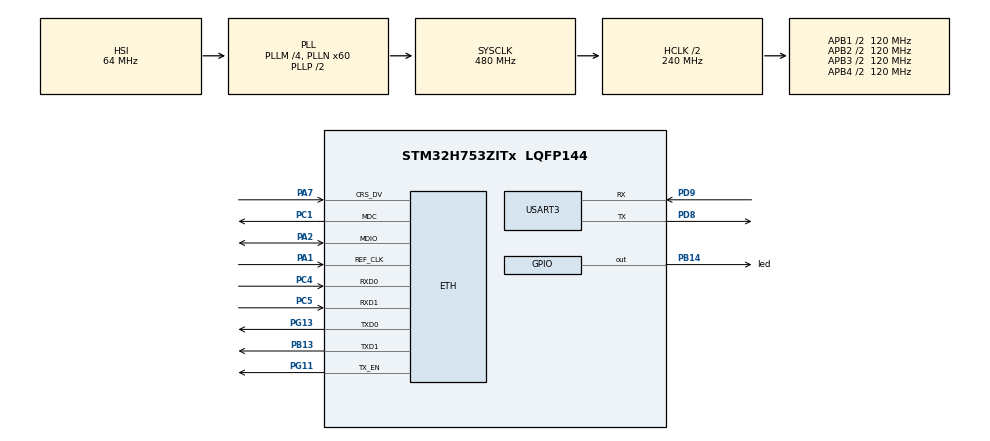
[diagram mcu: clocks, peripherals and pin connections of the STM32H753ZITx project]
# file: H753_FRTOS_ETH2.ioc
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CORTEX_M7.AccessPermission_S-Cortex_Memory_Protection_Unit_Region1_Settings_S=MPU_REGION_PRIV_RO
CORTEX_M7.AccessPermission_S-Cortex_Memory_Protection_Unit_Region2_Settings_S=MPU_REGION_FULL_ACCESS
CORTEX_M7.AccessPermission_S-Cortex_Memory_Protection_Unit_Region3_Settings_S=MPU_REGION_FULL_ACCESS
CORTEX_M7.BaseAddress_S-Cortex_Memory_Protection_Unit_Region1_Settings_S=0x08000000
CORTEX_M7.BaseAddress_S-Cortex_Memory_Protection_Unit_Region2_Settings_S=0x30000000
CORTEX_M7.BaseAddress_S-Cortex_Memory_Protection_Unit_Region3_Settings_S=0x30004000
CORTEX_M7.CPU_DCache=Enabled
CORTEX_M7.CPU_ICache=Enabled
CORTEX_M7.DisableExec_S-Cortex_Memory_Protection_Unit_Region1_Settings_S=MPU_INSTRUCTION_ACCESS_ENABLE
CORTEX_M7.DisableExec_S-Cortex_Memory_Protection_Unit_Region2_Settings_S=MPU_INSTRUCTION_ACCESS_DISABLE
CORTEX_M7.DisableExec_S-Cortex_Memory_Protection_Unit_Region3_Settings_S=MPU_INSTRUCTION_ACCESS_DISABLE
CORTEX_M7.Enable_S-Cortex_Memory_Protection_Unit_Region1_Settings_S=MPU_REGION_ENABLE
CORTEX_M7.Enable_S-Cortex_Memory_Protection_Unit_Region2_Settings_S=MPU_REGION_ENABLE
CORTEX_M7.Enable_S-Cortex_Memory_Protection_Unit_Region3_Settings_S=MPU_REGION_ENABLE
CORTEX_M7.IsCacheable_S-Cortex_Memory_Protection_Unit_Region1_Settings_S=MPU_ACCESS_CACHEABLE
CORTEX_M7.IsShareable_S-Cortex_Memory_Protection_Unit_Region1_Settings_S=MPU_ACCESS_NOT_SHAREABLE
CORTEX_M7.IsShareable_S-Cortex_Memory_Protection_Unit_Region2_Settings_S=MPU_ACCESS_SHAREABLE
CORTEX_M7.IsShareable_S-Cortex_Memory_Protection_Unit_Region3_Settings_S=MPU_ACCESS_SHAREABLE
CORTEX_M7.Size_S-Cortex_Memory_Protection_Unit_Region1_Settings_S=MPU_REGION_SIZE_2MB
CORTEX_M7.Size_S-Cortex_Memory_Protection_Unit_Region2_Settings_S=MPU_REGION_SIZE_32KB
CORTEX_M7.Size_S-Cortex_Memory_Protection_Unit_Region3_Settings_S=MPU_REGION_SIZE_16KB
CORTEX_M7.TypeExtField_S-Cortex_Memory_Protection_Unit_Region1_Settings_S=MPU_TEX_LEVEL1
CORTEX_M7.TypeExtField_S-Cortex_Memory_Protection_Unit_Region2_Settings_S=MPU_TEX_LEVEL1
CORTEX_M7.TypeExtField_S-Cortex_Memory_Protection_Unit_Region3_Settings_S=MPU_TEX_LEVEL1
CORTEX_M7.default_mode_Activation=1
ETH.MediaInterface=HAL_ETH_RMII_MODE
ETH.RxBufferAddress=0x30044000
ETH.RxDescAddress=0x3003FF00
ETH.TxDescAddress=0x3003FF80
FREERTOS.Tasks01=defaultTask,24,512,StartDefaultTask,Default,NULL,Dynamic,NULL,NULL;ledTask,8,128,ledTaskFunction,Default,NULL,Dynamic,NULL,NULL
FREERTOS.configENABLE_FPU=1
LWIP.BSP.number=1
LWIP.ETHARP_DEBUG=LWIP_DBG_ON
LWIP.ETH_RX_BUFFER_CNT=10
LWIP.ICMP_DEBUG=LWIP_DBG_ON
LWIP.IP_ADDRESS=192.168.001.007
LWIP.IP_DEBUG=LWIP_DBG_ON
LWIP.LWIP_DHCP=0
LWIP.LWIP_NETCONN=1
LWIP.LWIP_RAM_HEAP_POINTER=0x30004000
LWIP.LWIP_SOCKET=1
LWIP.LWIP_TCP=1
LWIP.LWIP_UDP=1
LWIP.MEMP_NUM_TCP_PCB=1
LWIP.MEMP_NUM_TCP_PCB_LISTEN=1
LWIP.MEMP_NUM_UDP_PCB=1
LWIP.MEM_SIZE=16000
LWIP.NETIF_DEBUG=LWIP_DBG_ON
LWIP.NETMASK_ADDRESS=255.255.255.000
LWIP.Version=v2.1.2_Cube
LWIP0.BSP.STBoard=false
LWIP0.BSP.api=BSP_COMPONENT_DRIVER
LWIP0.BSP.component=LAN8742
LWIP0.BSP.instance=LAN8742
LWIP0.BSP.name=Driver_PHY
LWIP0.BSP.semaphore=S_LAN8742
LWIP0.BSP.solution=LAN8742
Mcu.Family=STM32H7
Mcu.Name=STM32H753ZITx
Mcu.Package=LQFP144
NVIC.ETH_IRQn=true\:5\:0\:false\:false\:true\:true\:true\:true\:true
NVIC.PriorityGroup=NVIC_PRIORITYGROUP_4
NVIC.TIM6_DAC_IRQn=true\:15\:0\:false\:false\:true\:false\:false\:true\:true
NVIC.TimeBase=TIM6_DAC_IRQn
NVIC.TimeBaseIP=TIM6
PA1.Mode=RMII
PA1.Signal=ETH_REF_CLK
PA13\ (JTMS/SWDIO).Mode=Serial_Wire
PA13\ (JTMS/SWDIO).Signal=DEBUG_JTMS-SWDIO
PA14\ (JTCK/SWCLK).Mode=Serial_Wire
PA14\ (JTCK/SWCLK).Signal=DEBUG_JTCK-SWCLK
PA2.Mode=RMII
PA2.Signal=ETH_MDIO
PA7.Mode=RMII
PA7.Signal=ETH_CRS_DV
PB13.Mode=RMII
PB13.Signal=ETH_TXD1
PB14.GPIO_Label=led
PB14.Signal=GPIO_Output
PC1.Mode=RMII
PC1.Signal=ETH_MDC
PC4.Mode=RMII
PC4.Signal=ETH_RXD0
PC5.Mode=RMII
PC5.Signal=ETH_RXD1
PD8.Mode=Asynchronous
PD8.Signal=USART3_TX
PD9.Mode=Asynchronous
PD9.Signal=USART3_RX
PG11.Mode=RMII
PG11.Signal=ETH_TX_EN
PG13.Mode=RMII
PG13.Signal=ETH_TXD0
ProjectManager.HeapSize=0x200
ProjectManager.StackSize=0x400
ProjectManager.TargetToolchain=CMake
RCC.ADCFreq_Value=129000000
RCC.APB1Freq_Value=120000000
RCC.APB2Freq_Value=120000000
RCC.APB3Freq_Value=120000000
RCC.APB4Freq_Value=120000000
RCC.CortexFreq_Value=480000000
RCC.D1PPRE=RCC_APB3_DIV2
RCC.D2PPRE1=RCC_APB1_DIV2
RCC.D2PPRE2=RCC_APB2_DIV2
RCC.D3PPRE=RCC_APB4_DIV2
RCC.DIVM1=4
RCC.DIVN1=60
RCC.HCLKFreq_Value=240000000
RCC.HPRE=RCC_HCLK_DIV2
RCC.SYSCLKFreq_VALUE=480000000
RCC.SYSCLKSource=RCC_SYSCLKSOURCE_PLLCLK
RCC.USBFreq_Value=480000000
USART3.VirtualMode-Asynchronous=VM_ASYNC
VP_FREERTOS_VS_CMSIS_V2.Mode=CMSIS_V2
VP_LWIP_VS_Enabled.Mode=Enabled
VP_MEMORYMAP_VS_MEMORYMAP.Mode=CurAppReg
VP_SYS_VS_tim6.Mode=TIM6
board=custom

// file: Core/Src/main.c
/* USER CODE BEGIN Header */
/**
 ******************************************************************************
 * @file           : main.c
 * @brief          : Main program body
 ******************************************************************************
 * @attention
 *
 * Copyright (c) 2026 STMicroelectronics.
 * All rights reserved.
 *
 * This software is licensed under terms that can be found in the LICENSE file
 * in the root directory of this software component.
 * If no LICENSE file comes with this software, it is provided AS-IS.
 *
 ******************************************************************************
 */
/* USER CODE END Header */
#include "main.h"
#include "cmsis_os.h"
#include "lwip.h"

/* USER CODE BEGIN Includes */
#include <stdio.h>
#include "socket.h"
/* USER CODE END Includes */

UART_HandleTypeDef huart3;

/* Definitions for defaultTask */
osThreadId_t defaultTaskHandle;
const osThreadAttr_t defaultTask_attributes = {
    .name = "defaultTask",
    .stack_size = 512 * 4,
    .priority = (osPriority_t) osPriorityNormal,
};
/* Definitions for ledTask */
osThreadId_t ledTaskHandle;
const osThreadAttr_t ledTask_attributes = {
    .name = "ledTask",
    .stack_size = 128 * 4,
    .priority = (osPriority_t) osPriorityLow,
};

void SystemClock_Config(void);
static void MPU_Config(void);
static void MX_GPIO_Init(void);
static void MX_USART3_UART_Init(void);
void StartDefaultTask(void* argument);
void ledTaskFunction(void* argument);

/* USER CODE BEGIN 0 */
int __io_putchar(int ch) {
    char cha = ch;
    HAL_UART_Transmit(&huart3, (uint8_t*) &cha, 1, HAL_MAX_DELAY);
    return ch;
}
/* USER CODE END 0 */

int main(void) {

    /* MPU Configuration--------------------------------------------------------*/
    MPU_Config();

    /* Enable the CPU Cache */

    /* Enable I-Cache---------------------------------------------------------*/
    SCB_EnableICache();

    /* Enable D-Cache---------------------------------------------------------*/
    SCB_EnableDCache();

    /* MCU Configuration--------------------------------------------------------*/

    /* Reset of all peripherals, Initializes the Flash interface and the Systick. */
    HAL_Init();

    /* Configure the system clock */
    SystemClock_Config();

    /* Initialize all configured peripherals */
    MX_GPIO_Init();
    MX_USART3_UART_Init();

    /* Init scheduler */
    osKernelInitialize();

    /* Create the thread(s) */
    /* creation of defaultTask */
    defaultTaskHandle = osThreadNew(StartDefaultTask, NULL, &defaultTask_attributes);

    /* creation of ledTask */
    ledTaskHandle = osThreadNew(ledTaskFunction, NULL, &ledTask_attributes);

    /* Start scheduler */
    osKernelStart();

    /* We should never get here as control is now taken by the scheduler */

    /* Infinite loop */
    while(1) {

    }
}

void SystemClock_Config(void) {
    RCC_OscInitTypeDef RCC_OscInitStruct = {0};
    RCC_ClkInitTypeDef RCC_ClkInitStruct = {0};

    /** Supply configuration update enable
     */
    HAL_PWREx_ConfigSupply(PWR_LDO_SUPPLY);

    /** Configure the main internal regulator output voltage
     */
    __HAL_PWR_VOLTAGESCALING_CONFIG(PWR_REGULATOR_VOLTAGE_SCALE0);

    while(!__HAL_PWR_GET_FLAG(PWR_FLAG_VOSRDY)) {}

    /** Initializes the RCC Oscillators according to the specified parameters
     * in the RCC_OscInitTypeDef structure.
     */
    RCC_OscInitStruct.OscillatorType = RCC_OSCILLATORTYPE_HSI;
    RCC_OscInitStruct.HSIState = RCC_HSI_DIV1;
    RCC_OscInitStruct.HSICalibrationValue = RCC_HSICALIBRATION_DEFAULT;
    RCC_OscInitStruct.PLL.PLLState = RCC_PLL_ON;
    RCC_OscInitStruct.PLL.PLLSource = RCC_PLLSOURCE_HSI;
    RCC_OscInitStruct.PLL.PLLM = 4;
    RCC_OscInitStruct.PLL.PLLN = 60;
    RCC_OscInitStruct.PLL.PLLP = 2;
    RCC_OscInitStruct.PLL.PLLQ = 2;
    RCC_OscInitStruct.PLL.PLLR = 2;
    RCC_OscInitStruct.PLL.PLLRGE = RCC_PLL1VCIRANGE_3;
    RCC_OscInitStruct.PLL.PLLVCOSEL = RCC_PLL1VCOWIDE;
    RCC_OscInitStruct.PLL.PLLFRACN = 0;
    if(HAL_RCC_OscConfig(&RCC_OscInitStruct) != HAL_OK) {
        Error_Handler();
    }

    /** Initializes the CPU, AHB and APB buses clocks
     */
    RCC_ClkInitStruct.ClockType = RCC_CLOCKTYPE_HCLK | RCC_CLOCKTYPE_SYSCLK | RCC_CLOCKTYPE_PCLK1 |
        RCC_CLOCKTYPE_PCLK2 | RCC_CLOCKTYPE_D3PCLK1 | RCC_CLOCKTYPE_D1PCLK1;
    RCC_ClkInitStruct.SYSCLKSource = RCC_SYSCLKSOURCE_PLLCLK;
    RCC_ClkInitStruct.SYSCLKDivider = RCC_SYSCLK_DIV1;
    RCC_ClkInitStruct.AHBCLKDivider = RCC_HCLK_DIV2;
    RCC_ClkInitStruct.APB3CLKDivider = RCC_APB3_DIV2;
    RCC_ClkInitStruct.APB1CLKDivider = RCC_APB1_DIV2;
    RCC_ClkInitStruct.APB2CLKDivider = RCC_APB2_DIV2;
    RCC_ClkInitStruct.APB4CLKDivider = RCC_APB4_DIV2;

    if(HAL_RCC_ClockConfig(&RCC_ClkInitStruct, FLASH_LATENCY_4) != HAL_OK) {
        Error_Handler();
    }
}

static void MX_USART3_UART_Init(void) {

    huart3.Instance = USART3;
    huart3.Init.BaudRate = 115200;
    huart3.Init.WordLength = UART_WORDLENGTH_8B;
    huart3.Init.StopBits = UART_STOPBITS_1;
    huart3.Init.Parity = UART_PARITY_NONE;
    huart3.Init.Mode = UART_MODE_TX_RX;
    huart3.Init.HwFlowCtl = UART_HWCONTROL_NONE;
    huart3.Init.OverSampling = UART_OVERSAMPLING_16;
    huart3.Init.OneBitSampling = UART_ONE_BIT_SAMPLE_DISABLE;
    huart3.Init.ClockPrescaler = UART_PRESCALER_DIV1;
    huart3.AdvancedInit.AdvFeatureInit = UART_ADVFEATURE_NO_INIT;
    if(HAL_UART_Init(&huart3) != HAL_OK) {
        Error_Handler();
    }
    if(HAL_UARTEx_SetTxFifoThreshold(&huart3, UART_TXFIFO_THRESHOLD_1_8) != HAL_OK) {
        Error_Handler();
    }
    if(HAL_UARTEx_SetRxFifoThreshold(&huart3, UART_RXFIFO_THRESHOLD_1_8) != HAL_OK) {
        Error_Handler();
    }
    if(HAL_UARTEx_DisableFifoMode(&huart3) != HAL_OK) {
        Error_Handler();
    }
}

static void MX_GPIO_Init(void) {
    GPIO_InitTypeDef GPIO_InitStruct = {0};

    /* GPIO Ports Clock Enable */
    __HAL_RCC_GPIOC_CLK_ENABLE();
    __HAL_RCC_GPIOA_CLK_ENABLE();
    __HAL_RCC_GPIOB_CLK_ENABLE();
    __HAL_RCC_GPIOD_CLK_ENABLE();
    __HAL_RCC_GPIOG_CLK_ENABLE();

    /*Configure GPIO pin Output Level */
    HAL_GPIO_WritePin(led_GPIO_Port, led_Pin, GPIO_PIN_RESET);

    /*Configure GPIO pin : led_Pin */
    GPIO_InitStruct.Pin = led_Pin;
    GPIO_InitStruct.Mode = GPIO_MODE_OUTPUT_PP;
    GPIO_InitStruct.Pull = GPIO_NOPULL;
    GPIO_InitStruct.Speed = GPIO_SPEED_FREQ_LOW;
    HAL_GPIO_Init(led_GPIO_Port, &GPIO_InitStruct);

}

/* USER CODE BEGIN 4 */
// We have this dummy variable defined at 0x3004000 that way gcc doesnt accidentally allocate something
// inside our lwip ram block
[[gnu::section(".LWIP_RAM")]] volatile uint8_t LWIP_RAM[16000];

uint8_t eth_rx_buf[128];
/* USER CODE END 4 */

void StartDefaultTask(void* argument) {
    /* init code for LWIP */
    MX_LWIP_Init();
    /* USER CODE BEGIN 5 */

    // See USER CODE BEGIN 4, this prevents the variable getting optimized out
    (void) LWIP_RAM[0];
    // Memory protection settings:
    //  - Regions 0 and 1 are default
    //  - Region 2 is used to protect the Rx buffer and dma descriptors from ethernetif.c
    //  - Region 3 is used to protect the LWIP ram segment that has the tx buffers

    // TCP socket stuff
    int sock = lwip_socket(AF_INET, SOCK_STREAM, 0);

    struct sockaddr_in serveradd;
    serveradd.sin_family = AF_INET;
    serveradd.sin_addr.s_addr = htonl(INADDR_ANY);
    serveradd.sin_port = htons(8000);

    if((lwip_bind(sock, (struct sockaddr*) &serveradd, sizeof(serveradd))) != ERR_OK) {
        printf("socket bind failed...\n");
        while(1) osDelay(1000);
    }

    printf("Socket successfully bound!\n");

    if((lwip_listen(sock, 5)) != ERR_OK) {
        printf("Listen failed...\n");
        while(1);
    }

    printf("Server listening..\n");

    // Accept the data packet from client and verification
    struct sockaddr_in cli;
    socklen_t len = sizeof(cli);
    int connfd = lwip_accept(sock, (struct sockaddr*) &cli, &len);
    if(connfd < 0) {
        printf("server accept failed...\n");
        while(1);
    }

    printf("server accept the client...\n");

    struct pollfd pfd = {
        .fd = connfd,
        .events = POLLIN | POLLRDNORM,
        .revents = 0
    };

    while(1) {
        int ret = lwip_poll(&pfd, 1, 1000);

        if(ret > 0) {
            if(pfd.revents == POLLIN) {
                ssize_t bytes = lwip_read(connfd, eth_rx_buf, 128);
                if(bytes > 0) {
                    if(lwip_write(connfd, eth_rx_buf, bytes) != bytes) {
                        printf("Didnt send all data back\n");
                    }
                }
            }
        }

        else if(ret < 0) {
            printf("Poll error\n");
            while(1);
        }

        else printf("No data\n");
    }

    /* Infinite loop */
    for(;;) {
        osDelay(1);
    }
    /* USER CODE END 5 */
}

void ledTaskFunction(void* argument) {
    /* USER CODE BEGIN ledTaskFunction */
    /* Infinite loop */
    for(;;) {
        osDelay(1000);
        HAL_GPIO_TogglePin(led_GPIO_Port, led_Pin);
        // printf("Helo World\n");
    }
    /* USER CODE END ledTaskFunction */
}

/* MPU Configuration */

void MPU_Config(void) {
    MPU_Region_InitTypeDef MPU_InitStruct = {0};

    /* Disables the MPU */
    HAL_MPU_Disable();

    /** Initializes and configures the Region and the memory to be protected
     */
    MPU_InitStruct.Enable = MPU_REGION_ENABLE;
    MPU_InitStruct.Number = MPU_REGION_NUMBER0;
    MPU_InitStruct.BaseAddress = 0x0;
    MPU_InitStruct.Size = MPU_REGION_SIZE_4GB;
    MPU_InitStruct.SubRegionDisable = 0x87;
    MPU_InitStruct.TypeExtField = MPU_TEX_LEVEL0;
    MPU_InitStruct.AccessPermission = MPU_REGION_NO_ACCESS;
    MPU_InitStruct.DisableExec = MPU_INSTRUCTION_ACCESS_DISABLE;
    MPU_InitStruct.IsShareable = MPU_ACCESS_SHAREABLE;
    MPU_InitStruct.IsCacheable = MPU_ACCESS_NOT_CACHEABLE;
    MPU_InitStruct.IsBufferable = MPU_ACCESS_NOT_BUFFERABLE;

    HAL_MPU_ConfigRegion(&MPU_InitStruct);

    /** Initializes and configures the Region and the memory to be protected
     */
    MPU_InitStruct.Number = MPU_REGION_NUMBER1;
    MPU_InitStruct.BaseAddress = 0x08000000;
    MPU_InitStruct.Size = MPU_REGION_SIZE_2MB;
    MPU_InitStruct.SubRegionDisable = 0x0;
    MPU_InitStruct.TypeExtField = MPU_TEX_LEVEL1;
    MPU_InitStruct.AccessPermission = MPU_REGION_PRIV_RO;
    MPU_InitStruct.DisableExec = MPU_INSTRUCTION_ACCESS_ENABLE;
    MPU_InitStruct.IsShareable = MPU_ACCESS_NOT_SHAREABLE;
    MPU_InitStruct.IsCacheable = MPU_ACCESS_CACHEABLE;

    HAL_MPU_ConfigRegion(&MPU_InitStruct);

    /** Initializes and configures the Region and the memory to be protected
     */
    MPU_InitStruct.Number = MPU_REGION_NUMBER2;
    MPU_InitStruct.BaseAddress = 0x30000000;
    MPU_InitStruct.Size = MPU_REGION_SIZE_32KB;
    MPU_InitStruct.AccessPermission = MPU_REGION_FULL_ACCESS;
    MPU_InitStruct.DisableExec = MPU_INSTRUCTION_ACCESS_DISABLE;
    MPU_InitStruct.IsShareable = MPU_ACCESS_SHAREABLE;
    MPU_InitStruct.IsCacheable = MPU_ACCESS_NOT_CACHEABLE;

    HAL_MPU_ConfigRegion(&MPU_InitStruct);

    /** Initializes and configures the Region and the memory to be protected
     */
    MPU_InitStruct.Number = MPU_REGION_NUMBER3;
    MPU_InitStruct.BaseAddress = 0x30004000;
    MPU_InitStruct.Size = MPU_REGION_SIZE_16KB;

    HAL_MPU_ConfigRegion(&MPU_InitStruct);
    /* Enables the MPU */
    HAL_MPU_Enable(MPU_PRIVILEGED_DEFAULT);
}

void HAL_TIM_PeriodElapsedCallback(TIM_HandleTypeDef* htim) {
    if(htim->Instance == TIM6) {
        HAL_IncTick();
    }
}

void Error_Handler(void) {
    __disable_irq();
    while(1) {}
}
